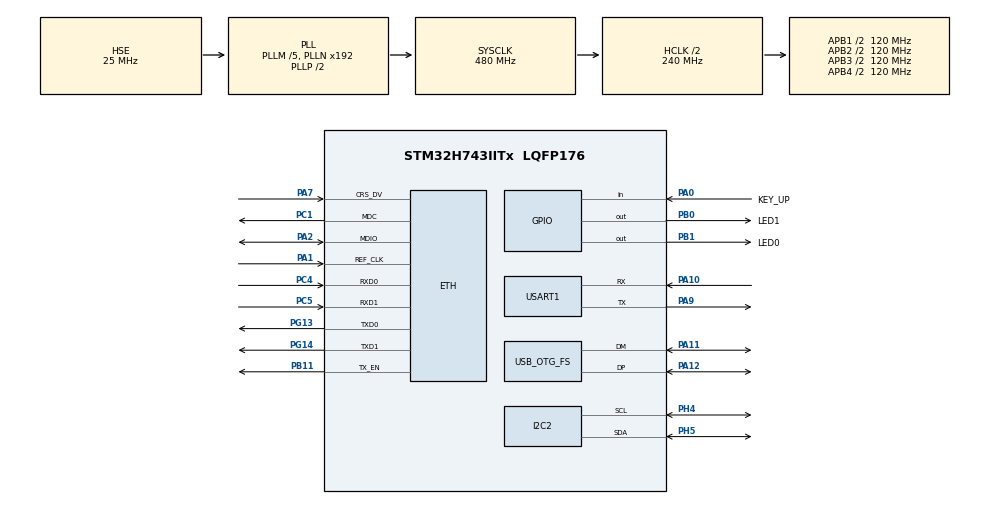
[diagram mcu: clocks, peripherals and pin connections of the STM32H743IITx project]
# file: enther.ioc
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CORTEX_M7.AccessPermission-Cortex_Memory_Protection_Unit_Region0_Settings=MPU_REGION_FULL_ACCESS
CORTEX_M7.AccessPermission_Spec=MPU_REGION_FULL_ACCESS
CORTEX_M7.BaseAddress-Cortex_Memory_Protection_Unit_Region0_Settings=0x30000000
CORTEX_M7.BaseAddress_Spec=0x30000000
CORTEX_M7.CPU_DCache=Enabled
CORTEX_M7.CPU_ICache=Enabled
CORTEX_M7.Enable-Cortex_Memory_Protection_Unit_Region0_Settings=MPU_REGION_ENABLE
CORTEX_M7.IsBufferable-Cortex_Memory_Protection_Unit_Region0_Settings=MPU_ACCESS_BUFFERABLE
CORTEX_M7.IsBufferable_Spec=MPU_ACCESS_BUFFERABLE
CORTEX_M7.IsCacheable-Cortex_Memory_Protection_Unit_Region0_Settings=MPU_ACCESS_NOT_CACHEABLE
CORTEX_M7.IsCacheable_Spec=MPU_ACCESS_NOT_CACHEABLE
CORTEX_M7.IsShareable-Cortex_Memory_Protection_Unit_Region0_Settings=MPU_ACCESS_SHAREABLE
CORTEX_M7.IsShareable_Spec=MPU_ACCESS_NOT_SHAREABLE
CORTEX_M7.MPU_Control=MPU_PRIVILEGED_DEFAULT
CORTEX_M7.Size-Cortex_Memory_Protection_Unit_Region0_Settings=MPU_REGION_SIZE_256B
CORTEX_M7.Size_Spec=MPU_REGION_SIZE_256B
CORTEX_M7.SubRegionDisable_Spec=0x0
CORTEX_M7.TypeExtField-Cortex_Memory_Protection_Unit_Region0_Settings=MPU_TEX_LEVEL0
CORTEX_M7.default_mode_Activation=0
ETH.MediaInterface=HAL_ETH_RMII_MODE
I2C2.Timing=0x307075B1
LWIP.API_LIB_DEBUG=LWIP_DBG_ON
LWIP.API_MSG_DEBUG=LWIP_DBG_ON
LWIP.AUTOIP_DEBUG=LWIP_DBG_ON
LWIP.BSP.number=1
LWIP.DHCP6_DEBUG=LWIP_DBG_ON
LWIP.DHCP_DEBUG=LWIP_DBG_ON
LWIP.DNS_DEBUG=LWIP_DBG_ON
LWIP.ETHARP_DEBUG=LWIP_DBG_ON
LWIP.GATEWAY_ADDRESS=192.168.001.001
LWIP.HTTPD_DEBUG=LWIP_DBG_ON
LWIP.HTTPD_DEBUG_TIMING=LWIP_DBG_ON
LWIP.ICMP_DEBUG=LWIP_DBG_ON
LWIP.IGMP_DEBUG=LWIP_DBG_ON
LWIP.INET_DEBUG=LWIP_DBG_ON
LWIP.IP6_DEBUG=LWIP_DBG_ON
LWIP.IP_ADDRESS=192.168.001.010
LWIP.IP_DEBUG=LWIP_DBG_ON
LWIP.IP_REASS_DEBUG=LWIP_DBG_ON
LWIP.LWIP_DHCP=0
LWIP.LWIP_DNS=1
LWIP.LWIP_PERF=0
LWIP.LWIP_STATS=1
LWIP.LWIP_STATS_DISPLAY=1
LWIP.LWIP_TCP=1
LWIP.LWIP_TESTMODE=1
LWIP.LWIP_UDP=1
LWIP.MDNS_DEBUG=LWIP_DBG_ON
LWIP.MEMP_DEBUG=LWIP_DBG_ON
LWIP.MEM_DEBUG=LWIP_DBG_ON
LWIP.NETIF_DEBUG=LWIP_DBG_ON
LWIP.NETMASK_ADDRESS=255.255.255.000
LWIP.PBUF_DEBUG=LWIP_DBG_ON
LWIP.PPP_DEBUG=LWIP_DBG_ON
LWIP.RAW_DEBUG=LWIP_DBG_ON
LWIP.SLIP_DEBUG=LWIP_DBG_ON
LWIP.SMTP_DEBUG=LWIP_DBG_ON
LWIP.SNMP_DEBUG=LWIP_DBG_ON
LWIP.SNMP_MIB_DEBUG=LWIP_DBG_ON
LWIP.SNTP_DEBUG=LWIP_DBG_ON
LWIP.SOCKETS_DEBUG=LWIP_DBG_ON
LWIP.SYS_DEBUG=LWIP_DBG_ON
LWIP.TCPIP_DEBUG=LWIP_DBG_ON
LWIP.TCP_CWND_DEBUG=LWIP_DBG_ON
LWIP.TCP_DEBUG=LWIP_DBG_ON
LWIP.TCP_FR_DEBUG=LWIP_DBG_ON
LWIP.TCP_INPUT_DEBUG=LWIP_DBG_ON
LWIP.TCP_OUTPUT_DEBUG=LWIP_DBG_ON
LWIP.TCP_QLEN_DEBUG=LWIP_DBG_ON
LWIP.TCP_RST_DEBUG=LWIP_DBG_ON
LWIP.TCP_RTO_DEBUG=LWIP_DBG_ON
LWIP.TCP_WND_DEBUG=LWIP_DBG_ON
LWIP.TFTP_DEBUG=LWIP_DBG_ON
LWIP.TIMERS_DEBUG=LWIP_DBG_ON
LWIP.UDP_DEBUG=LWIP_DBG_ON
LWIP.Version=v2.1.2_Cube
LWIP0.BSP.STBoard=false
LWIP0.BSP.api=BSP_COMPONENT_DRIVER
LWIP0.BSP.component=LAN8742
LWIP0.BSP.instance=LAN8742
LWIP0.BSP.name=Driver_PHY
LWIP0.BSP.semaphore=S_LAN8742
LWIP0.BSP.solution=LAN8742
Mcu.Family=STM32H7
Mcu.Name=STM32H743IITx
Mcu.Package=LQFP176
NVIC.ETH_IRQn=true\:0\:0\:false\:false\:true\:true\:true\:true
NVIC.I2C2_EV_IRQn=true\:0\:0\:false\:false\:true\:true\:true\:true
NVIC.OTG_FS_IRQn=true\:0\:0\:false\:false\:true\:true\:true\:true
NVIC.PriorityGroup=NVIC_PRIORITYGROUP_4
NVIC.USART1_IRQn=true\:0\:0\:false\:false\:true\:true\:true\:true
PA0.GPIO_Label=KEY_UP
PA0.Signal=GPIO_Input
PA1.GPIO_Speed=GPIO_SPEED_FREQ_VERY_HIGH
PA1.Mode=RMII
PA1.Signal=ETH_REF_CLK
PA10.GPIO_Speed=GPIO_SPEED_FREQ_VERY_HIGH
PA10.Mode=Asynchronous
PA10.Signal=USART1_RX
PA11.GPIO_Speed=GPIO_SPEED_FREQ_VERY_HIGH
PA11.Mode=Device_Only
PA11.Signal=USB_OTG_FS_DM
PA12.GPIO_Speed=GPIO_SPEED_FREQ_VERY_HIGH
PA12.Mode=Device_Only
PA12.Signal=USB_OTG_FS_DP
PA13\ (JTMS/SWDIO).Mode=Trace_Asynchronous_SW
PA13\ (JTMS/SWDIO).Signal=DEBUG_JTMS-SWDIO
PA14\ (JTCK/SWCLK).Mode=Trace_Asynchronous_SW
PA14\ (JTCK/SWCLK).Signal=DEBUG_JTCK-SWCLK
PA2.GPIO_Speed=GPIO_SPEED_FREQ_VERY_HIGH
PA2.Mode=RMII
PA2.Signal=ETH_MDIO
PA7.GPIO_Speed=GPIO_SPEED_FREQ_VERY_HIGH
PA7.Mode=RMII
PA7.Signal=ETH_CRS_DV
PA9.GPIO_Speed=GPIO_SPEED_FREQ_VERY_HIGH
PA9.Mode=Asynchronous
PA9.Signal=USART1_TX
PB0.GPIO_Label=LED1
PB0.Signal=GPIO_Output
PB1.GPIO_Label=LED0
PB1.GPIO_Speed=GPIO_SPEED_FREQ_HIGH
PB1.Signal=GPIO_Output
PB11.GPIO_Speed=GPIO_SPEED_FREQ_VERY_HIGH
PB11.Mode=RMII
PB11.Signal=ETH_TX_EN
PB3\ (JTDO/TRACESWO).Mode=Trace_Asynchronous_SW
PB3\ (JTDO/TRACESWO).Signal=DEBUG_JTDO-SWO
PC1.GPIO_Speed=GPIO_SPEED_FREQ_VERY_HIGH
PC1.Mode=RMII
PC1.Signal=ETH_MDC
PC4.GPIO_Speed=GPIO_SPEED_FREQ_VERY_HIGH
PC4.Mode=RMII
PC4.Signal=ETH_RXD0
PC5.GPIO_Speed=GPIO_SPEED_FREQ_VERY_HIGH
PC5.Mode=RMII
PC5.Signal=ETH_RXD1
PG13.GPIO_Speed=GPIO_SPEED_FREQ_VERY_HIGH
PG13.Mode=RMII
PG13.Signal=ETH_TXD0
PG14.GPIO_Speed=GPIO_SPEED_FREQ_VERY_HIGH
PG14.Mode=RMII
PG14.Signal=ETH_TXD1
PH0-OSC_IN\ (PH0).Mode=HSE-External-Oscillator
PH0-OSC_IN\ (PH0).Signal=RCC_OSC_IN
PH1-OSC_OUT\ (PH1).Mode=HSE-External-Oscillator
PH1-OSC_OUT\ (PH1).Signal=RCC_OSC_OUT
PH4.Mode=I2C
PH4.Signal=I2C2_SCL
PH5.Mode=I2C
PH5.Signal=I2C2_SDA
ProjectManager.HeapSize=0x200
ProjectManager.StackSize=0x400
ProjectManager.TargetToolchain=MDK-ARM V5.32
RCC.ADCFreq_Value=50390625
RCC.APB1Freq_Value=120000000
RCC.APB2Freq_Value=120000000
RCC.APB3Freq_Value=120000000
RCC.APB4Freq_Value=120000000
RCC.CortexFreq_Value=480000000
RCC.D1PPRE=RCC_APB3_DIV2
RCC.D2PPRE1=RCC_APB1_DIV2
RCC.D2PPRE2=RCC_APB2_DIV2
RCC.D3PPRE=RCC_APB4_DIV2
RCC.DIVM1=5
RCC.DIVN1=192
RCC.DIVQ1=20
RCC.HCLKFreq_Value=240000000
RCC.HPRE=RCC_HCLK_DIV2
RCC.PLLFRACN=0
RCC.PLLSourceVirtual=RCC_PLLSOURCE_HSE
RCC.SYSCLKFreq_VALUE=480000000
RCC.SYSCLKSource=RCC_SYSCLKSOURCE_PLLCLK
RCC.USBFreq_Value=48000000
USART1.VirtualMode-Asynchronous=VM_ASYNC
USB_DEVICE.CLASS_NAME_FS=CDC
USB_DEVICE.VirtualMode-CDC_FS=Cdc
USB_DEVICE.VirtualModeFS=Cdc_FS
USB_OTG_FS.VirtualMode=Device_Only
VP_LWIP_VS_Enabled.Mode=Enabled
VP_TIM1_VS_ClockSourceINT.Mode=Internal
VP_USB_DEVICE_VS_USB_DEVICE_CDC_FS.Mode=CDC_FS
board=custom

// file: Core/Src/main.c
/* USER CODE BEGIN Header */
/**
  ******************************************************************************
  * @file           : main.c
  * @brief          : Main program body
  ******************************************************************************
  * @attention
  *
  * Copyright (c) 2024 STMicroelectronics.
  * All rights reserved.
  *
  * This software is licensed under terms that can be found in the LICENSE file
  * in the root directory of this software component.
  * If no LICENSE file comes with this software, it is provided AS-IS.
  *
  ******************************************************************************
  */
/* USER CODE END Header */
#include "main.h"
#include "lwip.h"
#include "usb_device.h"

/* USER CODE BEGIN Includes */
#include "string.h"
// #include <stdio.h>
#include "loghelper.h"
#include "pcf8574.h"
#include "debug.h"
#include "tcp_echoserver.h"

/* USER CODE END Includes */

/* USER CODE BEGIN PD */
#define Write_Through() (*(__IO uint32_t*)0XE000EF9C=1UL<<2) //Cache透写模式

/* USER CODE END PD */

I2C_HandleTypeDef hi2c2;

TIM_HandleTypeDef htim1;

UART_HandleTypeDef huart1;

/* USER CODE BEGIN PV */
volatile pcf8574Regs pcf8574_Reg_map;

/* USER CODE END PV */

void SystemClock_Config(void);
static void MPU_Config(void);
static void MX_GPIO_Init(void);
static void MX_USART1_UART_Init(void);
static void MX_I2C2_Init(void);
static void MX_TIM1_Init(void);

/* USER CODE BEGIN 0 */
// FILE __stdout;

// typedef struct __FILE FILE;

struct __FILE
{
  int handle;
};

FILE __stdout;

void _sys_exit(int x){
    x = x;
}

int fputc(int ch, FILE *f){
    char temp[1]={ch};
    logHelper.appendStrings(&temp);

    HAL_UART_Transmit_IT(&huart1,(uint8_t *)&ch,1);
    while(__HAL_UART_GET_FLAG(&huart1, UART_FLAG_TC) == RESET){}
    return ch;

}
/* USER CODE END 0 */

int main(void)
{

  /* MPU Configuration--------------------------------------------------------*/
  MPU_Config();
/* Enable the CPU Cache */

  /* Enable I-Cache---------------------------------------------------------*/
  SCB_EnableICache();

  /* Enable D-Cache---------------------------------------------------------*/
  SCB_EnableDCache();

  /* MCU Configuration--------------------------------------------------------*/

  /* Reset of all peripherals, Initializes the Flash interface and the Systick. */
  HAL_Init();

  /* USER CODE BEGIN Init */
    Write_Through();                        //开启强制透写！
  /* USER CODE END Init */

  /* Configure the system clock */
  SystemClock_Config();

  /* USER CODE BEGIN SysInit */
    logHelperCreate();

  /* USER CODE END SysInit */

  /* Initialize all configured peripherals */
  MX_GPIO_Init();
  MX_USART1_UART_Init();
  MX_USB_DEVICE_Init();
  MX_I2C2_Init();
  MX_LWIP_Init();
  MX_TIM1_Init();
  /* USER CODE BEGIN 2 */
  pcf8574InitI2CReg((pcf8574Regs*)&pcf8574_Reg_map);
  logHelper.appendStringln("start");
  tcp_echoserver_init();

  /* USER CODE END 2 */

  /* Infinite loop */
  /* USER CODE BEGIN WHILE */
  while (1)
  {
    static uint32_t temptimes = 0;
    temptimes++;
    MX_LWIP_Process();
    // if(temptimes %1000000 == 0){

    // }

    /* USER CODE END WHILE */

    /* USER CODE BEGIN 3 */
    // HAL_Delay(1000);
    logHelper.Run();
  }
  /* USER CODE END 3 */
}

void SystemClock_Config(void)
{
  RCC_OscInitTypeDef RCC_OscInitStruct = {0};
  RCC_ClkInitTypeDef RCC_ClkInitStruct = {0};

  /** Supply configuration update enable
  */
  HAL_PWREx_ConfigSupply(PWR_LDO_SUPPLY);

  /** Configure the main internal regulator output voltage
  */
  __HAL_PWR_VOLTAGESCALING_CONFIG(PWR_REGULATOR_VOLTAGE_SCALE1);

  while(!__HAL_PWR_GET_FLAG(PWR_FLAG_VOSRDY)) {}

  __HAL_RCC_SYSCFG_CLK_ENABLE();
  __HAL_PWR_VOLTAGESCALING_CONFIG(PWR_REGULATOR_VOLTAGE_SCALE0);

  while(!__HAL_PWR_GET_FLAG(PWR_FLAG_VOSRDY)) {}

  /** Initializes the RCC Oscillators according to the specified parameters
  * in the RCC_OscInitTypeDef structure.
  */
  RCC_OscInitStruct.OscillatorType = RCC_OSCILLATORTYPE_HSE;
  RCC_OscInitStruct.HSEState = RCC_HSE_ON;
  RCC_OscInitStruct.PLL.PLLState = RCC_PLL_ON;
  RCC_OscInitStruct.PLL.PLLSource = RCC_PLLSOURCE_HSE;
  RCC_OscInitStruct.PLL.PLLM = 5;
  RCC_OscInitStruct.PLL.PLLN = 192;
  RCC_OscInitStruct.PLL.PLLP = 2;
  RCC_OscInitStruct.PLL.PLLQ = 20;
  RCC_OscInitStruct.PLL.PLLR = 2;
  RCC_OscInitStruct.PLL.PLLRGE = RCC_PLL1VCIRANGE_2;
  RCC_OscInitStruct.PLL.PLLVCOSEL = RCC_PLL1VCOWIDE;
  RCC_OscInitStruct.PLL.PLLFRACN = 0;
  if (HAL_RCC_OscConfig(&RCC_OscInitStruct) != HAL_OK)
  {
    Error_Handler();
  }

  /** Initializes the CPU, AHB and APB buses clocks
  */
  RCC_ClkInitStruct.ClockType = RCC_CLOCKTYPE_HCLK|RCC_CLOCKTYPE_SYSCLK
                              |RCC_CLOCKTYPE_PCLK1|RCC_CLOCKTYPE_PCLK2
                              |RCC_CLOCKTYPE_D3PCLK1|RCC_CLOCKTYPE_D1PCLK1;
  RCC_ClkInitStruct.SYSCLKSource = RCC_SYSCLKSOURCE_PLLCLK;
  RCC_ClkInitStruct.SYSCLKDivider = RCC_SYSCLK_DIV1;
  RCC_ClkInitStruct.AHBCLKDivider = RCC_HCLK_DIV2;
  RCC_ClkInitStruct.APB3CLKDivider = RCC_APB3_DIV2;
  RCC_ClkInitStruct.APB1CLKDivider = RCC_APB1_DIV2;
  RCC_ClkInitStruct.APB2CLKDivider = RCC_APB2_DIV2;
  RCC_ClkInitStruct.APB4CLKDivider = RCC_APB4_DIV2;

  if (HAL_RCC_ClockConfig(&RCC_ClkInitStruct, FLASH_LATENCY_4) != HAL_OK)
  {
    Error_Handler();
  }
}

static void MX_I2C2_Init(void)
{

  hi2c2.Instance = I2C2;
  hi2c2.Init.Timing = 0x307075B1;
  hi2c2.Init.OwnAddress1 = 0;
  hi2c2.Init.AddressingMode = I2C_ADDRESSINGMODE_7BIT;
  hi2c2.Init.DualAddressMode = I2C_DUALADDRESS_DISABLE;
  hi2c2.Init.OwnAddress2 = 0;
  hi2c2.Init.OwnAddress2Masks = I2C_OA2_NOMASK;
  hi2c2.Init.GeneralCallMode = I2C_GENERALCALL_DISABLE;
  hi2c2.Init.NoStretchMode = I2C_NOSTRETCH_DISABLE;
  if (HAL_I2C_Init(&hi2c2) != HAL_OK)
  {
    Error_Handler();
  }

  /** Configure Analogue filter
  */
  if (HAL_I2CEx_ConfigAnalogFilter(&hi2c2, I2C_ANALOGFILTER_ENABLE) != HAL_OK)
  {
    Error_Handler();
  }

  /** Configure Digital filter
  */
  if (HAL_I2CEx_ConfigDigitalFilter(&hi2c2, 0) != HAL_OK)
  {
    Error_Handler();
  }
  /* USER CODE BEGIN I2C2_Init 2 */
    pcf8574_Reg_map.Output.all = 0xff;
    pcf8574_Reg_map.Output.bit.ETH_RESET_IO = 1;
    pcf8574WriteOutput((pcf8574Regs*) &pcf8574_Reg_map);
    HAL_Delay(100);
    pcf8574_Reg_map.Output.bit.ETH_RESET_IO = 0;
    pcf8574WriteOutput((pcf8574Regs*) &pcf8574_Reg_map);
    HAL_Delay(100);
  /* USER CODE END I2C2_Init 2 */

}

static void MX_TIM1_Init(void)
{

  TIM_ClockConfigTypeDef sClockSourceConfig = {0};
  TIM_MasterConfigTypeDef sMasterConfig = {0};

  htim1.Instance = TIM1;
  htim1.Init.Prescaler = 0;
  htim1.Init.CounterMode = TIM_COUNTERMODE_UP;
  htim1.Init.Period = 65535;
  htim1.Init.ClockDivision = TIM_CLOCKDIVISION_DIV1;
  htim1.Init.RepetitionCounter = 0;
  htim1.Init.AutoReloadPreload = TIM_AUTORELOAD_PRELOAD_DISABLE;
  if (HAL_TIM_Base_Init(&htim1) != HAL_OK)
  {
    Error_Handler();
  }
  sClockSourceConfig.ClockSource = TIM_CLOCKSOURCE_INTERNAL;
  if (HAL_TIM_ConfigClockSource(&htim1, &sClockSourceConfig) != HAL_OK)
  {
    Error_Handler();
  }
  sMasterConfig.MasterOutputTrigger = TIM_TRGO_RESET;
  sMasterConfig.MasterOutputTrigger2 = TIM_TRGO2_RESET;
  sMasterConfig.MasterSlaveMode = TIM_MASTERSLAVEMODE_DISABLE;
  if (HAL_TIMEx_MasterConfigSynchronization(&htim1, &sMasterConfig) != HAL_OK)
  {
    Error_Handler();
  }

}

static void MX_USART1_UART_Init(void)
{

  huart1.Instance = USART1;
  huart1.Init.BaudRate = 115200;
  huart1.Init.WordLength = UART_WORDLENGTH_8B;
  huart1.Init.StopBits = UART_STOPBITS_1;
  huart1.Init.Parity = UART_PARITY_NONE;
  huart1.Init.Mode = UART_MODE_TX_RX;
  huart1.Init.HwFlowCtl = UART_HWCONTROL_NONE;
  huart1.Init.OverSampling = UART_OVERSAMPLING_16;
  huart1.Init.OneBitSampling = UART_ONE_BIT_SAMPLE_DISABLE;
  huart1.Init.ClockPrescaler = UART_PRESCALER_DIV1;
  huart1.AdvancedInit.AdvFeatureInit = UART_ADVFEATURE_NO_INIT;
  if (HAL_UART_Init(&huart1) != HAL_OK)
  {
    Error_Handler();
  }
  if (HAL_UARTEx_SetTxFifoThreshold(&huart1, UART_TXFIFO_THRESHOLD_1_8) != HAL_OK)
  {
    Error_Handler();
  }
  if (HAL_UARTEx_SetRxFifoThreshold(&huart1, UART_RXFIFO_THRESHOLD_1_8) != HAL_OK)
  {
    Error_Handler();
  }
  if (HAL_UARTEx_DisableFifoMode(&huart1) != HAL_OK)
  {
    Error_Handler();
  }

}

static void MX_GPIO_Init(void)
{
  GPIO_InitTypeDef GPIO_InitStruct = {0};

  /* GPIO Ports Clock Enable */
  __HAL_RCC_GPIOH_CLK_ENABLE();
  __HAL_RCC_GPIOC_CLK_ENABLE();
  __HAL_RCC_GPIOA_CLK_ENABLE();
  __HAL_RCC_GPIOB_CLK_ENABLE();
  __HAL_RCC_GPIOG_CLK_ENABLE();

  /*Configure GPIO pin Output Level */
  HAL_GPIO_WritePin(GPIOB, LED1_Pin|LED0_Pin, GPIO_PIN_RESET);

  /*Configure GPIO pin : KEY_UP_Pin */
  GPIO_InitStruct.Pin = KEY_UP_Pin;
  GPIO_InitStruct.Mode = GPIO_MODE_INPUT;
  GPIO_InitStruct.Pull = GPIO_NOPULL;
  HAL_GPIO_Init(KEY_UP_GPIO_Port, &GPIO_InitStruct);

  /*Configure GPIO pin : LED1_Pin */
  GPIO_InitStruct.Pin = LED1_Pin;
  GPIO_InitStruct.Mode = GPIO_MODE_OUTPUT_PP;
  GPIO_InitStruct.Pull = GPIO_NOPULL;
  GPIO_InitStruct.Speed = GPIO_SPEED_FREQ_LOW;
  HAL_GPIO_Init(LED1_GPIO_Port, &GPIO_InitStruct);

  /*Configure GPIO pin : LED0_Pin */
  GPIO_InitStruct.Pin = LED0_Pin;
  GPIO_InitStruct.Mode = GPIO_MODE_OUTPUT_PP;
  GPIO_InitStruct.Pull = GPIO_NOPULL;
  GPIO_InitStruct.Speed = GPIO_SPEED_FREQ_HIGH;
  HAL_GPIO_Init(LED0_GPIO_Port, &GPIO_InitStruct);

}

/* MPU Configuration */

void MPU_Config(void)
{
  MPU_Region_InitTypeDef MPU_InitStruct = {0};

  /* Disables the MPU */
  HAL_MPU_Disable();

  /** Initializes and configures the Region and the memory to be protected
  */
  MPU_InitStruct.Enable = MPU_REGION_ENABLE;
  MPU_InitStruct.Number = MPU_REGION_NUMBER0;
  MPU_InitStruct.BaseAddress = 0x30000000;
  MPU_InitStruct.Size = MPU_REGION_SIZE_256B;
  MPU_InitStruct.SubRegionDisable = 0x0;
  MPU_InitStruct.TypeExtField = MPU_TEX_LEVEL0;
  MPU_InitStruct.AccessPermission = MPU_REGION_FULL_ACCESS;
  MPU_InitStruct.DisableExec = MPU_INSTRUCTION_ACCESS_ENABLE;
  MPU_InitStruct.IsShareable = MPU_ACCESS_SHAREABLE;
  MPU_InitStruct.IsCacheable = MPU_ACCESS_NOT_CACHEABLE;
  MPU_InitStruct.IsBufferable = MPU_ACCESS_BUFFERABLE;

  HAL_MPU_ConfigRegion(&MPU_InitStruct);
  /* Enables the MPU */
  HAL_MPU_Enable(MPU_PRIVILEGED_DEFAULT);

}

void Error_Handler(void)
{
  __disable_irq();
  while (1)
  {
  }
}
